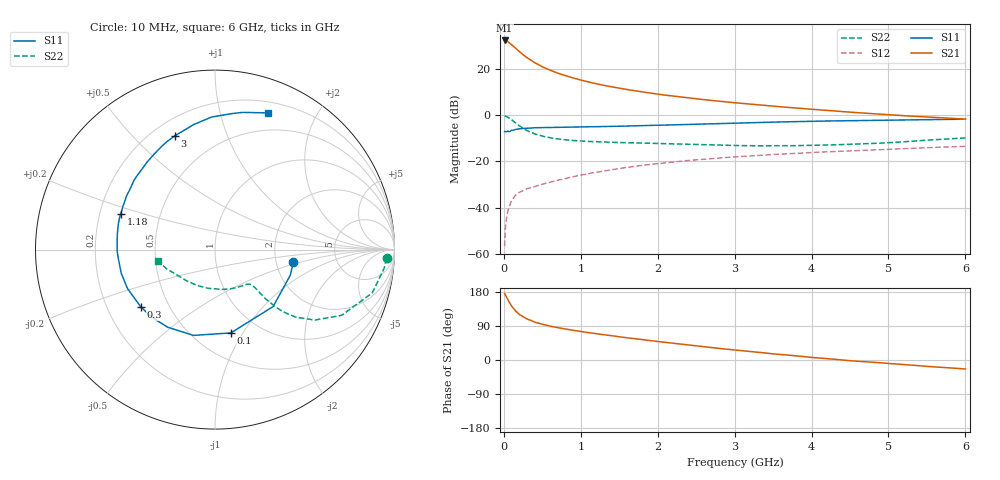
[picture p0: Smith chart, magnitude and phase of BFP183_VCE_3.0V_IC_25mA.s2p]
! Infineon Technologies  Discrete & RF Semiconductors
! BFP183
! VCE = 3.0 V,  IC =  25 mA
! Common Emitter S-Parameters:  Jan 2016
# GHz  S  MA  R  50
!  f  S11  S21  S12  S22
! GHz  MAG  ANG  MAG  ANG  MAG  ANG  MAG  ANG
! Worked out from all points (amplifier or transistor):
!   210 points, 10 MHz to 6 GHz, reference 50 ohm
!   highest |S21| = 32.1 dB at 10 MHz (marker M1)
!   |S21| within 3 dB of that: start of sweep to 140.7 MHz
!   unconditionally stable (mu >= 1): 693.2 MHz to 5.655 GHz
!   at 185 MHz: K = 0.44, MSG = 30.8 dB, |S12| = -33.7 dB
!   at 1.52 GHz: K = 1.16, MAG = 14.8 dB, |S12| = -22.9 dB
!   at 6 GHz: K = 0.96, MSG = 5.9 dB, |S12| = -13.5 dB
!   S11 on the Smith chart (normalised r, x): 10 MHz: 2.49, -0.44; 100 MHz: 0.74, -0.89; 300 MHz: 0.35, -0.30; 1.18 GHz: 0.29, +0.17; 3 GHz: 0.29, +0.67; 6 GHz: 0.31, +1.42
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0.01  0.4421 -9.3  40.48 175.7  0.0015 81.3  0.958 -2.9
0.02  0.443 -18.9  40.3 171.6  0.0036 84.9  0.9479 -6.3
0.05  0.4534 -44.4  38.53 159.2  0.0083 77.0  0.9087 -15.4
0.1  0.4726 -79.2  33.06 142.3  0.0142 63.3  0.7954 -27.4
0.15  0.4928 -104.1  27.8 129.6  0.0187 56.2  0.6813 -35.2
0.2  0.5066 -121.4  23.43 120.3  0.0216 53.3  0.5888 -39.8
0.24  0.5124 -130.9  20.59 115.0  0.023 51.5  0.5328 -41.7
0.26  0.5161 -135.1  19.38 112.6  0.0239 50.9  0.5081 -42.5
0.3  0.5221 -142.4  17.29 108.3  0.026 50.2  0.4649 -43.4
0.4  0.5335 -156.0  13.49 100.0  0.0287 51.1  0.3941 -44.2
0.5  0.5389 -165.8  10.97 94.2  0.0325 50.7  0.3516 -44.0
0.6  0.5403 -173.5  9.309 89.4  0.0357 52.7  0.3242 -43.7
0.7  0.5453 -179.3  7.971 85.3  0.0394 53.9  0.3054 -43.5
1.02  0.5568 165.4  5.558 74.6  0.0515 55.7  0.2749 -44.6
1.18  0.561 159.4  4.817 70.1  0.0577 55.6  0.2672 -46.0
1.5  0.5767 148.7  3.791 61.2  0.0707 54.9  0.2563 -50.0
2.02  0.6043 132.7  2.79 48.5  0.0906 51.4  0.2443 -59.4
3  0.6726 109.3  1.845 26.4  0.1254 43.0  0.2214 -84.6
3.1  0.6778 107.3  1.783 24.6  0.1285 42.0  0.2197 -87.6
4.1  0.7414 90.2  1.297 5.3  0.1588 33.0  0.2242 -119.9
5.1  0.7821 77.7  0.992 -10.5  0.1856 25.2  0.2593 -148.4
6  0.817 68.7  0.819 -23.7  0.2118 16.7  0.3229 -168.4
